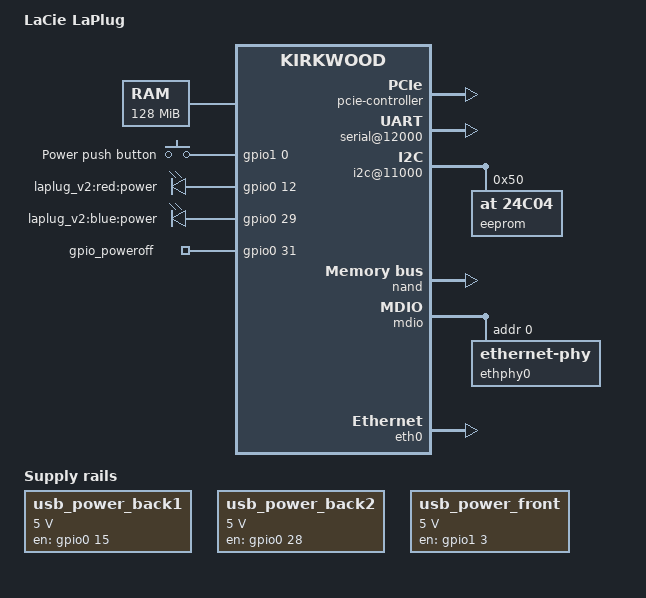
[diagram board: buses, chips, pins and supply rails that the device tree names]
/*
 * Copyright (C) 2013 Maxime Hadjinlian <maxime.hadjinlian@gmail.com>
 *
 * This file is licensed under the terms of the GNU General Public
 * License version 2. This program is licensed "as is" without any
 * warranty of any kind, whether express or implied.
 */

/dts-v1/;

#include <dt-bindings/gpio/gpio.h>
#include <dt-bindings/input/input.h>
#include "kirkwood.dtsi"
#include "kirkwood-6192.dtsi"

/ {
	model = "LaCie LaPlug";
	compatible = "lacie,laplug", "marvell,kirkwood-88f6192", "marvell,kirkwood";

	memory {
		device_type = "memory";
		reg = <0x00000000 0x8000000>; /* 128 MB */
	};

	chosen {
		bootargs = "console=ttyS0,115200n8 earlyprintk";
	};

	mbus {
		pcie-controller {
			status = "okay";
			pcie@1,0 {
				status = "okay";
			};
		};
	};

	ocp@f1000000 {
		serial@12000 {
			pinctrl-0 = <&pmx_uart0>;
			pinctrl-names = "default";
			status = "okay";
		};

		i2c@11000 {
			pinctrl-0 = <&pmx_twsi0>;
			pinctrl-names = "default";
			status = "okay";

			eeprom@50 {
				compatible = "at,24c04";
				pagesize = <16>;
				reg = <0x50>;
			};
		};

		pinctrl: pinctrl@10000 {
			pmx_usb_power_enable: pmx-usb-power-enable {
				marvell,pins = "mpp14";
				marvell,function = "gpio";
			};
		};
	};

	gpio_keys {
		compatible = "gpio-keys";

		button@1{
			label = "Power push button";
			linux,code = <KEY_POWER>;
			gpios = <&gpio1 0 GPIO_ACTIVE_HIGH>;
		};
	};

	gpio-leds {
		compatible = "gpio-leds";

		red-fail {
			label = "laplug_v2:red:power";
			gpios = <&gpio0 12 GPIO_ACTIVE_HIGH>;
		};
		blue-power {
			label = "laplug_v2:blue:power";
			gpios = <&gpio0 29 GPIO_ACTIVE_HIGH>;
			linux,default-trigger = "default-on";
		};
	};

	gpio_poweroff {
		compatible = "gpio-poweroff";
		gpios = <&gpio0 31 GPIO_ACTIVE_HIGH>;
	};

	regulators {
		compatible = "simple-bus";
		#address-cells = <1>;
		#size-cells = <0>;
		pinctrl-0 = <&pmx_usb_power_enable>;
		pinctrl-names = "default";

		usb_power_back1: regulator@1 {
			compatible = "regulator-fixed";
			reg = <1>;
			regulator-name = "USB Power Back 1";
			regulator-min-microvolt = <5000000>;
			regulator-max-microvolt = <5000000>;
			enable-active-high;
			regulator-always-on;
			regulator-boot-on;
			gpio = <&gpio0 15 GPIO_ACTIVE_HIGH>;
		};

		usb_power_back2: regulator@2 {
			compatible = "regulator-fixed";
			reg = <2>;
			regulator-name = "USB Power Back 2";
			regulator-min-microvolt = <5000000>;
			regulator-max-microvolt = <5000000>;
			enable-active-high;
			regulator-always-on;
			regulator-boot-on;
			gpio = <&gpio0 28 GPIO_ACTIVE_HIGH>;
		};

		usb_power_front: regulator@3 {
			compatible = "regulator-fixed";
			reg = <3>;
			regulator-name = "USB Power Front";
			regulator-min-microvolt = <5000000>;
			regulator-max-microvolt = <5000000>;
			enable-active-high;
			regulator-always-on;
			regulator-boot-on;
			gpio = <&gpio1 3 GPIO_ACTIVE_HIGH>;
		};
	};
};

&nand {
	/* Total size : 512MB */
	status = "okay";
	pinctrl-0 = <&pmx_nand>;

	partition@0 {
		label = "u-boot";
		reg = <0x0 0x100000>; /* 1MB */
		read-only;
	};

	partition@100000 {
		label = "uImage";
		reg = <0x100000 0x1000000>; /* 16MB */
	};

	partition@1100000 {
		label = "rootfs";
		reg = <0x1100000 0x1EF00000>; /* 495MB */
	};
};

&mdio {
	status = "okay";

	ethphy0: ethernet-phy@0 {
		device_type = "ethernet-phy";
		reg = <0>;
	};
};

&eth0 {
	status = "okay";
	ethernet0-port@0 {
		phy-handle = <&ethphy0>;
	};
};
